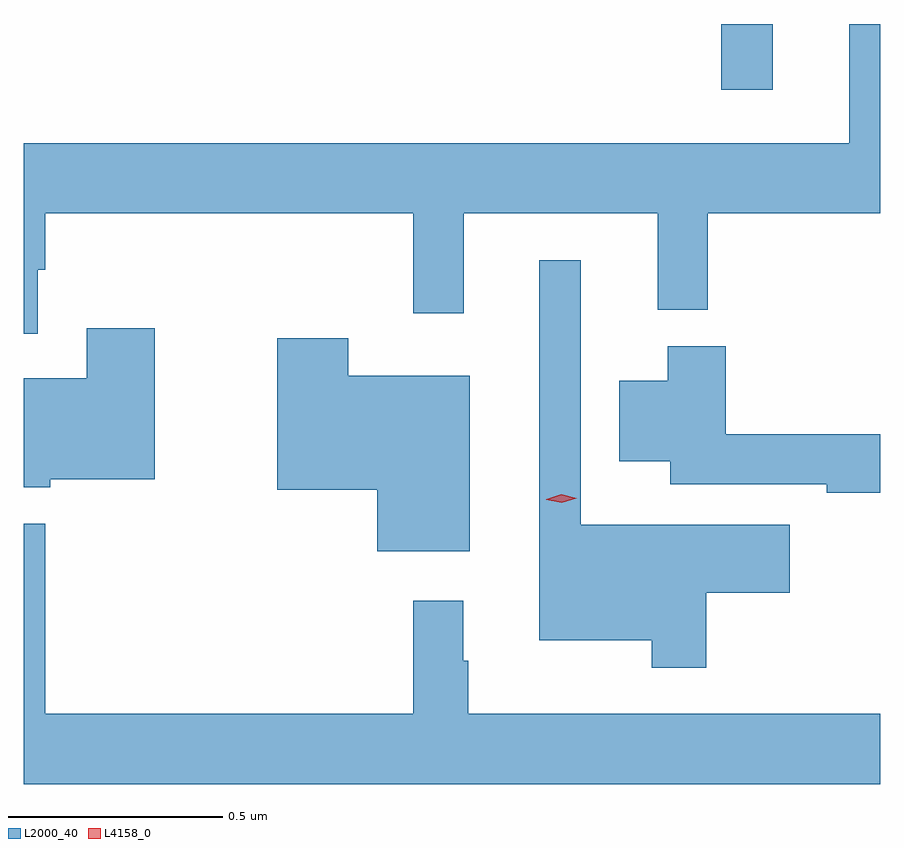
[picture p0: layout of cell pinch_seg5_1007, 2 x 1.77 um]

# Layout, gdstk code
import gdstk
lib = gdstk.Library(unit=1e-6, precision=1e-09)
def R(c, l, rs):  # rectangles x0, y0, x1, y1
    for r in rs: c.add(gdstk.rectangle(r[:2], r[2:], *l))
def P(c, l, *ps):  # polygons
    for p in ps: c.add(gdstk.Polygon(p, *l))
L2000_40 = (2000, 40)
L4158_0 = (4158, 0)

pinch_seg5_1007 = lib.new_cell('pinch_seg5_1007')
R(pinch_seg5_1007, L2000_40, [(744.246,881.025,744.367,881.178)])
P(pinch_seg5_1007, L2000_40, [(742.651,880.604),(742.669,880.604),(742.669,880.736),(743.527,880.736),(743.527,880.503),(743.645,880.503),(743.645,880.736),(744.098,880.736),(744.098,880.511),(744.215,880.511),(744.215,880.736),(744.618,880.736),(744.618,881.178),(744.545,881.178),(744.545,880.9),(742.618,880.9),(742.618,880.455),(742.651,880.455)],
  [(744.212,879.851),(744.406,879.851),(744.406,880.009),(743.919,880.009),(743.919,880.627),(743.822,880.627),(743.822,879.74),(744.084,879.74),(744.084,879.675),(744.212,879.675)],
  [(742.68,880.115),(742.924,880.115),(742.924,880.468),(742.766,880.468),(742.766,880.351),(742.618,880.351),(742.618,880.097),(742.68,880.097)],
  [(743.659,880.357),(743.376,880.357),(743.376,880.444),(743.21,880.444),(743.21,880.091),(743.444,880.091),(743.444,879.947),(743.659,879.947)],
  [(744.618,880.22),(744.257,880.22),(744.257,880.426),(744.122,880.426),(744.122,880.345),(744.008,880.345),(744.008,880.157),(744.128,880.157),(744.128,880.104),(744.493,880.104),(744.493,880.084),(744.618,880.084)],
  [(744.618,879.568),(743.656,879.568),(743.656,879.692),(743.644,879.692),(743.644,879.832),(743.527,879.832),(743.527,879.568),(742.669,879.568),(742.669,880.012),(742.618,880.012),(742.618,879.404),(744.618,879.404)])
P(pinch_seg5_1007, L4158_0, [(743.874,880.06),(743.838,880.068),(743.838,880.069),(743.838,880.069),(743.873,880.08),(743.909,880.071),(743.909,880.071),(743.909,880.071)])

lib.write_gds('pinch_seg5_1007.gds')
